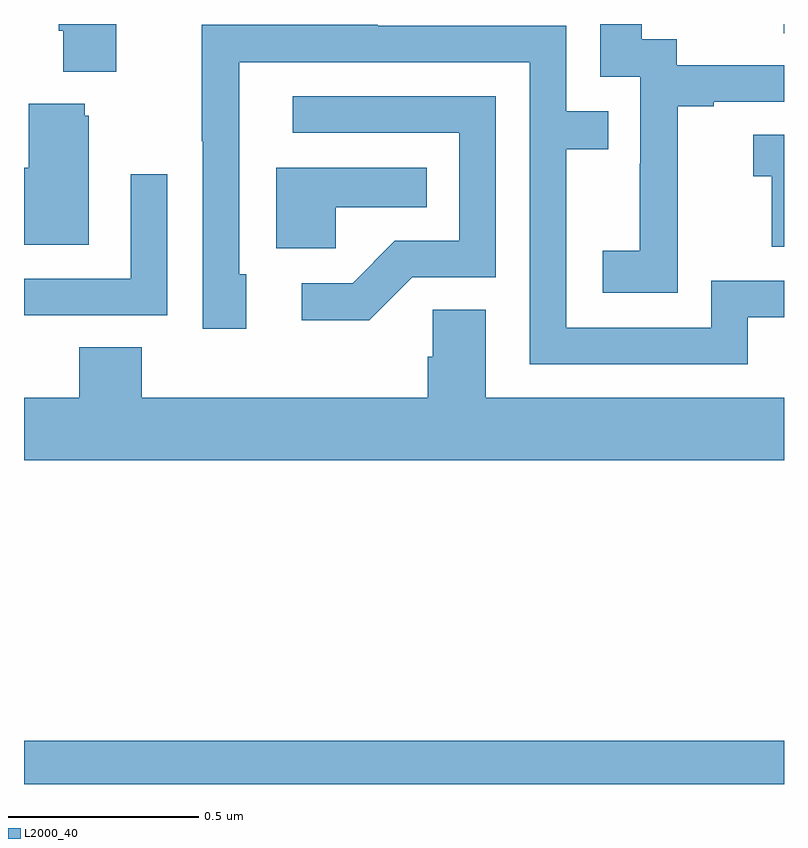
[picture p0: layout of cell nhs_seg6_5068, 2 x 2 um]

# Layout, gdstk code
import gdstk
lib = gdstk.Library(unit=1e-6, precision=1e-09)
def R(c, l, rs):  # rectangles x0, y0, x1, y1
    for r in rs: c.add(gdstk.rectangle(r[:2], r[2:], *l))
def P(c, l, *ps):  # polygons
    for p in ps: c.add(gdstk.Polygon(p, *l))
L2000_40 = (2000, 40)

nhs_seg6_5068 = lib.new_cell('nhs_seg6_5068')
R(nhs_seg6_5068, L2000_40, [(178,930.5,180,930.614), (179.999,932.476,180,932.5)])
P(nhs_seg6_5068, L2000_40, [(178.243,932.5),(178.091,932.5),(178.091,932.482),(178.103,932.482),(178.103,932.375),(178.243,932.375)],
  [(179.721,931.999),(179.72,931.999),(179.72,932.283),(179.815,932.283),(179.815,932.295),(180,932.295),(180,932.391),(179.718,932.391),(179.718,932.46),(179.626,932.46),(179.626,932.5),(179.517,932.5),(179.517,932.361),(179.622,932.361),(179.622,932.132),(179.621,932.132),(179.621,931.903),(179.523,931.903),(179.523,931.793),(179.721,931.793)],
  [(179.905,931.728),(180,931.728),(180,931.824),(179.808,931.824),(179.808,931.701),(179.427,931.701),(179.427,932.17),(179.537,932.17),(179.537,932.271),(179.427,932.271),(179.427,932.496),(178.931,932.496),(178.931,932.498),(178.468,932.498),(178.468,932.191),(178.47,932.191),(178.47,931.698),(178.585,931.698),(178.585,931.842),(178.566,931.842),(178.566,932.149),(178.567,932.149),(178.567,932.4),(179.331,932.4),(179.331,931.605),(179.905,931.605)],
  [(179.022,931.833),(179.241,931.833),(179.241,932.31),(178.707,932.31),(178.707,932.214),(179.145,932.214),(179.145,931.929),(178.976,931.929),(178.865,931.818),(178.731,931.818),(178.731,931.721),(178.909,931.721)],
  [(178.171,932.259),(178.16,932.259),(178.16,932.29),(178.013,932.29),(178.013,932.122),(178,932.122),(178,931.919),(178.171,931.919)],
  [(180,932.209),(179.919,932.209),(179.919,932.099),(179.968,932.099),(179.968,931.914),(180,931.914)],
  [(178.821,932.018),(179.06,932.018),(179.06,932.122),(178.664,932.122),(178.664,931.91),(178.821,931.91)],
  [(178.061,931.734),(178.377,931.734),(178.377,932.104),(178.281,932.104),(178.281,931.83),(178,931.83),(178,931.733),(178.061,931.733)],
  [(180,931.516),(179.215,931.516),(179.215,931.748),(179.076,931.748),(179.076,931.625),(179.063,931.625),(179.063,931.516),(178.31,931.516),(178.31,931.649),(178.145,931.649),(178.145,931.516),(178,931.516),(178,931.352),(180,931.352)])

lib.write_gds('nhs_seg6_5068.gds')
